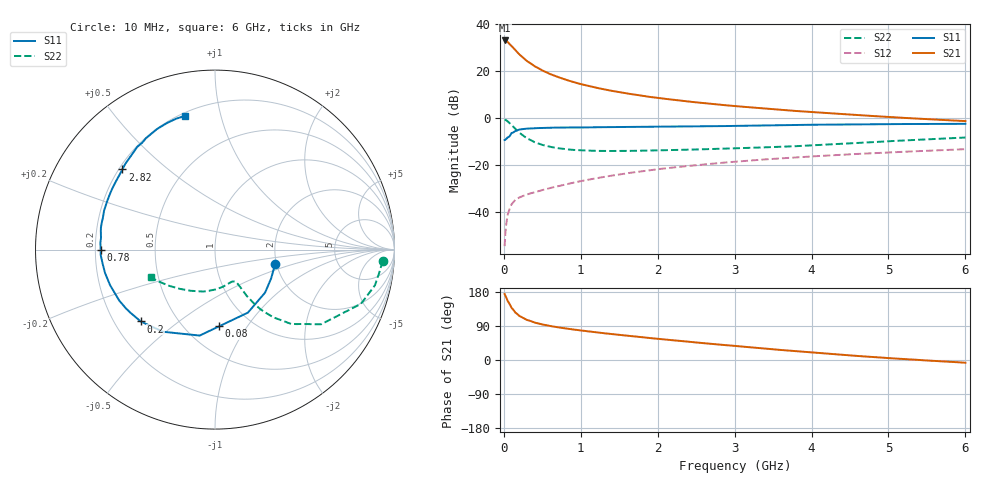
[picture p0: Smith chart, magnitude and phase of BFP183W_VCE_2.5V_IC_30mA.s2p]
! Infineon Technologies  Discrete & RF Semiconductors
! BFP183W
! VCE = 2.5 V,  IC =  30 mA
! Common Emitter S-Parameters:  Jan 2016
# GHz  S  MA  R  50
!  f  S11  S21  S12  S22
! GHz  MAG  ANG  MAG  ANG  MAG  ANG  MAG  ANG
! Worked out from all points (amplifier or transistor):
!   210 points, 10 MHz to 6 GHz, reference 50 ohm
!   highest |S21| = 33.2 dB at 10 MHz (marker M1)
!   |S21| within 3 dB of that: start of sweep to 118.8 MHz
!   unconditionally stable (mu >= 1): 658.8 MHz to 5.323 GHz
!   at 185 MHz: K = 0.46, MSG = 30.9 dB, |S12| = -34.0 dB
!   at 1.52 GHz: K = 1.20, MAG = 14.7 dB, |S12| = -23.8 dB
!   at 6 GHz: K = 0.97, MSG = 6.0 dB, |S12| = -13.1 dB
!   S11 on the Smith chart (normalised r, x): 10 MHz: 1.96, -0.37; 80 MHz: 0.72, -0.75; 200 MHz: 0.31, -0.37; 780 MHz: 0.22, -0.00; 2.82 GHz: 0.21, +0.36; 6 GHz: 0.22, +0.78
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0.01  0.3449 -13.9  45.5 174.2  0.0019 86.6  0.9364 -3.9
0.02  0.3516 -27.3  45.02 170.1  0.0036 81.5  0.9231 -8.4
0.03  0.3678 -40.6  44.6 165.2  0.0054 78.9  0.913 -12.6
0.05  0.3961 -62.4  42.14 155.9  0.0088 70.2  0.8674 -20.4
0.08  0.4284 -87.0  37.32 145.9  0.0123 62.1  0.7746 -28.6
0.1  0.4865 -100.1  34.89 137.8  0.0147 58.9  0.7233 -35.1
0.15  0.5416 -122.3  28.24 125.0  0.0184 51.1  0.5933 -44.3
0.2  0.5759 -136.0  23.12 116.5  0.0206 48.6  0.4967 -49.3
0.24  0.5885 -143.5  20.18 111.8  0.022 47.1  0.4412 -51.7
0.3  0.6044 -152.0  16.61 105.8  0.0239 47.7  0.3761 -54.0
0.4  0.6173 -161.3  12.87 98.8  0.0267 48.4  0.3107 -55.6
0.5  0.6263 -168.0  10.47 93.7  0.0297 50.9  0.2722 -55.8
0.6  0.6308 -172.6  8.79 89.7  0.0327 52.5  0.2478 -56.1
0.78  0.6368 -179.8  6.852 83.9  0.0385 55.7  0.2231 -56.8
1.02  0.6392 173.7  5.259 77.5  0.0467 58.4  0.2083 -58.7
1.4  0.6486 164.9  3.86 68.5  0.0602 60.1  0.202 -63.6
2.02  0.6617 152.7  2.697 55.6  0.0834 59.5  0.2082 -74.7
2.82  0.6824 139.1  1.943 40.4  0.1126 56.0  0.2243 -91.7
3.1  0.6947 134.6  1.77 35.4  0.1229 54.3  0.2319 -98.2
4.1  0.7325 120.6  1.333 18.5  0.1579 47.8  0.2706 -122.8
5.1  0.7554 109.8  1.046 3.8  0.1911 41.1  0.3318 -143.6
6  0.7636 102.7  0.874 -7.2  0.2206 35.3  0.3908 -156.8
